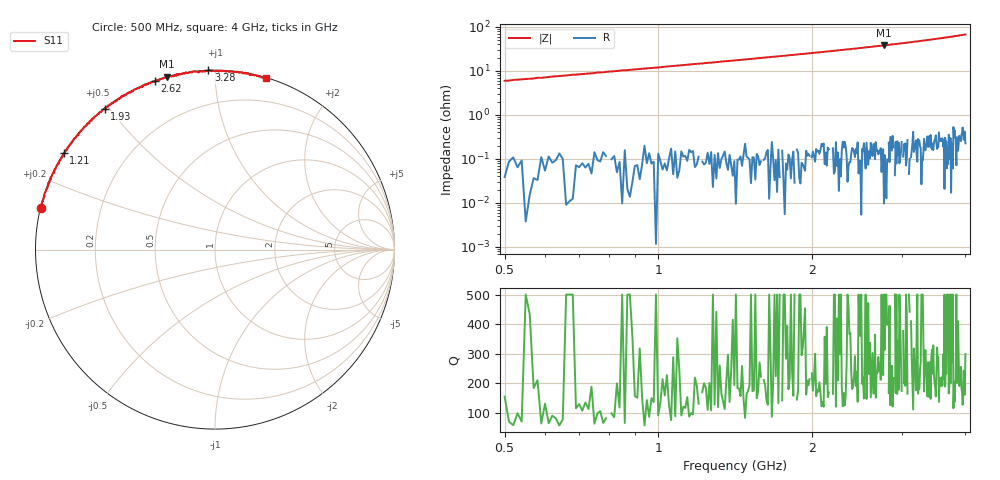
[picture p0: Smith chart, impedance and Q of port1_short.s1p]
!Agilent Technologies,E8363C,MY49030273,A.09.42.18
!Agilent E8363C: A.09.42.18
!Date: Tuesday, May 03, 2022 03:55:51
!Correction: S11(Full 2 Port(1,2))
!S1P File: Measurement: S11:
!Created with skrf (http://scikit-rf.org).
# GHz S RI R 50.0
!freq ReS11 ImS11
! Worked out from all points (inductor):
!   351 points, 500 MHz to 4 GHz, reference 50 ohm
!   read as one part to ground: L = 1.9 nH near 510 MHz
!   highest Q = 741 at 2.77 GHz (marker M1), where L = 2.18 nH
!   S11 on the Smith chart (normalised r, x): 500 MHz: 0.00, +0.12; 1.21 GHz: -0.00, +0.29; 1.93 GHz: 0.00, +0.49; 2.62 GHz: 0.00, +0.70; 3.28 GHz: 0.00, +0.96; 4 GHz: 0.00, +1.34
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0.5  -0.9706 0.2341
0.8  -0.9297 0.3721
0.94  -0.8957 0.4275
0.99  -0.8936 0.4488
1.21  -0.8422 0.5402
1.38  -0.7932 0.6017
1.55  -0.7474 0.6626
1.67  -0.6993 0.7033
1.69  -0.7012 0.7114
1.82  -0.6546 0.7544
1.93  -0.615 0.7859
2.25  -0.4897 0.8671
2.28  -0.4844 0.8735
2.32  -0.4574 0.8812
2.38  -0.442 0.8943
2.4  -0.4256 0.8994
2.62  -0.3355 0.9377
2.69  -0.3042 0.9484
2.77  -0.2686 0.963
3.13  -0.1088 0.9916
3.19  -0.0751 0.993
3.23  -0.0687 0.9916
3.28  -0.0365 0.9988
3.57  0.0907 0.9906
3.75  0.1692 0.9853
3.79  0.1933 0.9725
3.84  0.215 0.9755
4  0.2841 0.9554
